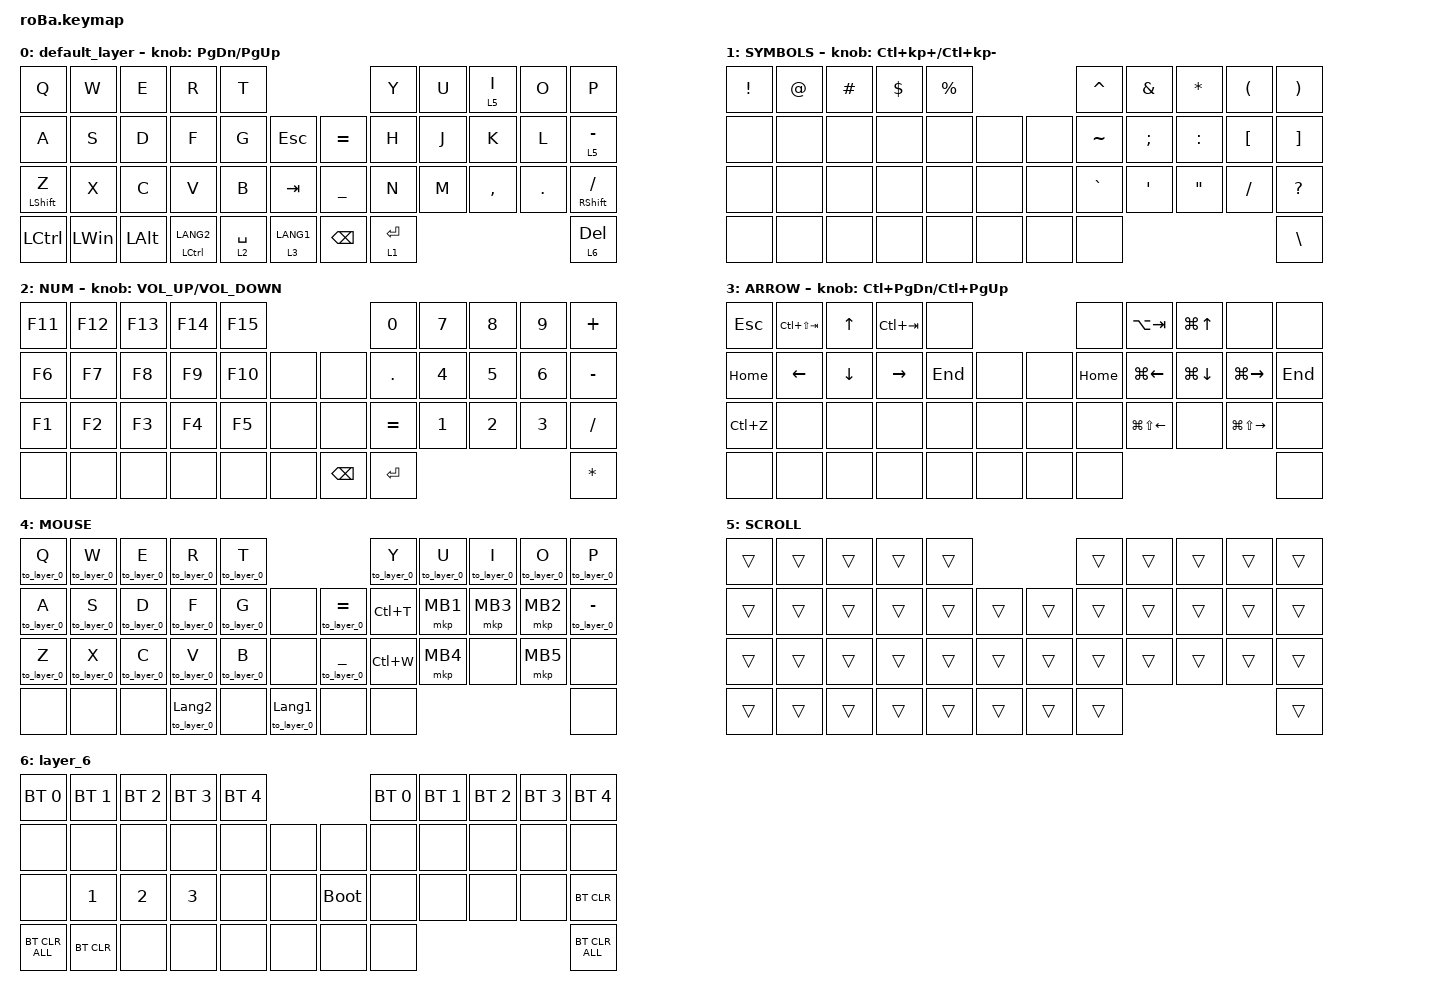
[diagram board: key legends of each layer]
#include <behaviors.dtsi>
#include <dt-bindings/zmk/bt.h>
#include <dt-bindings/zmk/keys.h>
#include <dt-bindings/zmk/pointing.h>

&mt {
    flavor = "balanced";
    quick-tap-ms = <0>;
};

&trackball {
    automouse-layer = <4>;
    scroll-layers = <5>;

    // arrows {
    //     layers = <3>;
    //     bindings =
    //         <&kp RIGHT_ARROW>,
    //         <&kp LEFT_ARROW>,
    //         <&kp UP_ARROW>,
    //         <&kp DOWN_ARROW>;
    //     tick = <10>;
    //     wait-ms = <5>;
    //     tap-ms = <5>;
    // };
};

/ {
    combos {
        compatible = "zmk,combos";

        tab {
            bindings = <&kp TAB>;
            key-positions = <11 12>;
        };

        shift_tab {
            bindings = <&kp LS(TAB)>;
            key-positions = <12 13>;
        };

        muhennkann {
            bindings = <&to_layer_0 INT_MUHENKAN>;
            key-positions = <11 10>;
        };

        double_quotation {
            bindings = <&kp DOUBLE_QUOTES>;
            key-positions = <20 21>;
        };

        eq {
            bindings = <&kp EQUAL>;
            key-positions = <24 25>;
        };
    };

    macros {
        to_layer_0: to_layer_0 {
            compatible = "zmk,behavior-macro-one-param";
            #binding-cells = <1>;
            bindings = <&to 0 &macro_param_1to1 &kp MACRO_PLACEHOLDER>;
            label = "TO_LAYER_0";
        };

        mkp_exit_AML: mkp_exit_AML {
            compatible = "zmk,behavior-macro";
            #binding-cells = <0>;
            bindings = <&none>;
            label = "MKP_EXIT_AML";
        };
    };

    behaviors {
        lt_to_layer_0: lt_to_layer_0 {
            compatible = "zmk,behavior-hold-tap";
            label = "LAYER_TAP_TO_0";
            bindings = <&mo>, <&to_layer_0>;

            #binding-cells = <2>;
            tapping-term-ms = <200>;
        };
    };

    keymap {
        compatible = "zmk,keymap";

        default_layer {
            bindings = <
&kp Q             &kp W         &kp E         &kp R                   &kp T                                        &kp Y        &kp U  &lt 5 I    &kp O    &kp P
&kp A             &kp S         &kp D         &kp F                   &kp G        &kp ESC          &kp EQUAL      &kp H        &kp J  &kp K      &kp L    &lt 5 MINUS
&mt LEFT_SHIFT Z  &kp X         &kp C         &kp V                   &kp B        &kp TAB          &kp UNDER      &kp N        &kp M  &kp COMMA  &kp DOT  &mt RIGHT_SHIFT SLASH
&kp LCTRL         &kp LEFT_WIN  &kp LEFT_ALT  &mt LEFT_CONTROL LANG2  &lt 2 SPACE  &lt 3 LANG1      &kp BACKSPACE  &lt 1 ENTER                             &lt 6 DEL
            >;

            sensor-bindings = <&inc_dec_kp PAGE_DOWN PG_UP>;
        };

        SYMBOLS {
            bindings = <
&kp EXCLAMATION  &kp AT_SIGN  &kp HASH  &kp DOLLAR  &kp PERCENT                    &kp CARET  &kp AMPERSAND     &kp ASTERISK       &kp LEFT_PARENTHESIS  &kp RIGHT_PARENTHESIS
&none            &none        &none     &none       &none        &none      &none  &kp TILDE  &kp SEMICOLON     &kp COLON          &kp LEFT_BRACKET      &kp RIGHT_BRACKET
&none            &none        &none     &none       &none        &none      &none  &kp GRAVE  &kp SINGLE_QUOTE  &kp DOUBLE_QUOTES  &kp SLASH             &kp QUESTION
&none            &none        &none     &none       &none        &none      &none  &none                                                                 &kp BSLH
            >;

            sensor-bindings = <&inc_dec_kp LC(KP_PLUS) LC(KP_MINUS)>;
        };

        NUM {
            bindings = <
&kp F11  &kp F12  &kp F13  &kp F14  &kp F15                       &kp N0     &kp N7  &kp N8  &kp N9  &kp PLUS
&kp F6   &kp F7   &kp F8   &kp F9   &kp F10  &none      &none     &kp DOT    &kp N4  &kp N5  &kp N6  &kp MINUS
&kp F1   &kp F2   &kp F3   &kp F4   &kp F5   &none      &none     &kp EQUAL  &kp N1  &kp N2  &kp N3  &kp FSLH
&none    &none    &none    &none    &none    &none      &kp BSPC  &kp ENTER                          &kp ASTRK
            >;

            sensor-bindings = <&inc_dec_kp C_VOLUME_UP C_VOLUME_DOWN>;
        };

        ARROW {
            bindings = <
&kp ESCAPE  &kp LC(LS(TAB))  &kp UP_ARROW    &kp LC(TAB)      &none                      &none     &kp LA(TAB)       &kp LG(UP_ARROW)  &none              &none
&kp HOME    &kp LEFT_ARROW   &kp DOWN_ARROW  &kp RIGHT_ARROW  &kp END  &none      &none  &kp HOME  &kp LG(LEFT)      &kp LG(DOWN)      &kp LG(RIGHT)      &kp END
&kp LC(Z)   &none            &none           &none            &none    &none      &none  &none     &kp LG(LS(LEFT))  &none             &kp LG(LS(RIGHT))  &none
&none       &none            &none           &none            &none    &none      &none  &none                                                            &none
            >;

            sensor-bindings = <&inc_dec_kp LC(PAGE_DOWN) LC(PAGE_UP)>;
        };

        MOUSE {
            bindings = <
&to_layer_0 Q  &to_layer_0 W  &to_layer_0 E  &to_layer_0 R           &to_layer_0 T                                                 &to_layer_0 Y  &to_layer_0 U  &to_layer_0 I  &to_layer_0 O  &to_layer_0 P
&to_layer_0 A  &to_layer_0 S  &to_layer_0 D  &to_layer_0 F           &to_layer_0 G  &none                       &to_layer_0 EQUAL  &kp LC(T)      &mkp MB1       &mkp MB3       &mkp MB2       &to_layer_0 MINUS
&to_layer_0 Z  &to_layer_0 X  &to_layer_0 C  &to_layer_0 V           &to_layer_0 B  &none                       &to_layer_0 UNDER  &kp LC(W)      &mkp MB4       &none          &mkp MB5       &none
&none          &none          &none          &to_layer_0 LANGUAGE_2  &none          &to_layer_0 LANGUAGE_1      &none              &none                                                       &none
            >;
        };

        SCROLL {
            bindings = <
&trans  &trans  &trans  &trans  &trans                      &trans  &trans  &trans  &trans  &trans
&trans  &trans  &trans  &trans  &trans  &trans      &trans  &trans  &trans  &trans  &trans  &trans
&trans  &trans  &trans  &trans  &trans  &trans      &trans  &trans  &trans  &trans  &trans  &trans
&trans  &trans  &trans  &trans  &trans  &trans      &trans  &trans                          &trans
            >;
        };

        layer_6 {
            bindings = <
&bt BT_SEL 0    &bt BT_SEL 1  &bt BT_SEL 2  &bt BT_SEL 3  &bt BT_SEL 4                          &bt BT_SEL 0  &bt BT_SEL 1  &bt BT_SEL 2  &bt BT_SEL 3  &bt BT_SEL 4
&none           &none         &none         &none         &none         &none      &none        &none         &none         &none         &none         &none
&none           &kp NUMBER_1  &kp NUMBER_2  &kp NUMBER_3  &none         &none      &bootloader  &none         &none         &none         &none         &bt BT_CLR
&bt BT_CLR_ALL  &bt BT_CLR    &none         &none         &none         &none      &none        &none                                                   &bt BT_CLR_ALL
            >;
        };
    };
};
